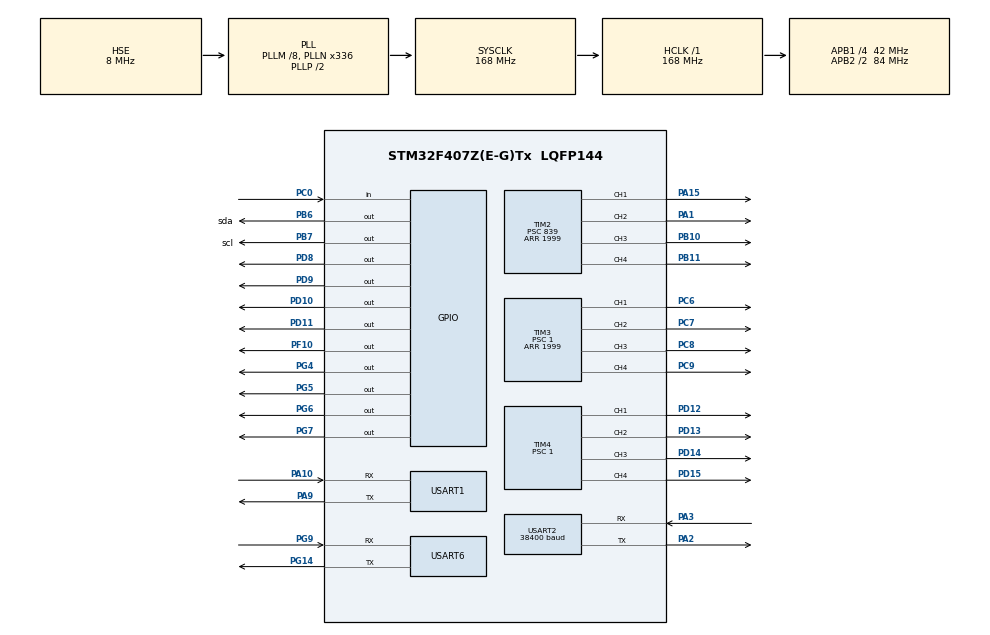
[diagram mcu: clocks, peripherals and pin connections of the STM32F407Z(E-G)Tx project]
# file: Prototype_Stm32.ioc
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Dma.Request0=USART1_RX
Dma.Request1=USART2_RX
Dma.Request2=USART2_TX
Dma.Request3=USART6_RX
Dma.USART1_RX.0.Direction=DMA_PERIPH_TO_MEMORY
Dma.USART1_RX.0.FIFOMode=DMA_FIFOMODE_DISABLE
Dma.USART1_RX.0.Instance=DMA2_Stream5
Dma.USART1_RX.0.MemDataAlignment=DMA_MDATAALIGN_BYTE
Dma.USART1_RX.0.MemInc=DMA_MINC_ENABLE
Dma.USART1_RX.0.Mode=DMA_NORMAL
Dma.USART1_RX.0.PeriphDataAlignment=DMA_PDATAALIGN_BYTE
Dma.USART1_RX.0.PeriphInc=DMA_PINC_DISABLE
Dma.USART1_RX.0.Priority=DMA_PRIORITY_MEDIUM
Dma.USART2_RX.1.Direction=DMA_PERIPH_TO_MEMORY
Dma.USART2_RX.1.FIFOMode=DMA_FIFOMODE_DISABLE
Dma.USART2_RX.1.Instance=DMA1_Stream5
Dma.USART2_RX.1.MemDataAlignment=DMA_MDATAALIGN_BYTE
Dma.USART2_RX.1.MemInc=DMA_MINC_ENABLE
Dma.USART2_RX.1.Mode=DMA_NORMAL
Dma.USART2_RX.1.PeriphDataAlignment=DMA_PDATAALIGN_BYTE
Dma.USART2_RX.1.PeriphInc=DMA_PINC_DISABLE
Dma.USART2_RX.1.Priority=DMA_PRIORITY_LOW
Dma.USART2_TX.2.Direction=DMA_MEMORY_TO_PERIPH
Dma.USART2_TX.2.FIFOMode=DMA_FIFOMODE_DISABLE
Dma.USART2_TX.2.Instance=DMA1_Stream6
Dma.USART2_TX.2.MemDataAlignment=DMA_MDATAALIGN_BYTE
Dma.USART2_TX.2.MemInc=DMA_MINC_ENABLE
Dma.USART2_TX.2.Mode=DMA_NORMAL
Dma.USART2_TX.2.PeriphDataAlignment=DMA_PDATAALIGN_BYTE
Dma.USART2_TX.2.PeriphInc=DMA_PINC_DISABLE
Dma.USART2_TX.2.Priority=DMA_PRIORITY_LOW
Dma.USART6_RX.3.Direction=DMA_PERIPH_TO_MEMORY
Dma.USART6_RX.3.FIFOMode=DMA_FIFOMODE_DISABLE
Dma.USART6_RX.3.Instance=DMA2_Stream1
Dma.USART6_RX.3.MemDataAlignment=DMA_MDATAALIGN_BYTE
Dma.USART6_RX.3.MemInc=DMA_MINC_ENABLE
Dma.USART6_RX.3.Mode=DMA_NORMAL
Dma.USART6_RX.3.PeriphDataAlignment=DMA_PDATAALIGN_BYTE
Dma.USART6_RX.3.PeriphInc=DMA_PINC_DISABLE
Dma.USART6_RX.3.Priority=DMA_PRIORITY_MEDIUM
FREERTOS.Tasks01=defaultTask,24,128,StartDefaultTask,Default,NULL,Dynamic,NULL,NULL;fun_ctrl_task,11,512,fun_ctrl_Task,Default,NULL,Dynamic,NULL,NULL;status_task,8,512,Status_Task,Default,NULL,Dynamic,NULL,NULL;imuTask,32,512,StartImuTask,Default,NULL,Dynamic,NULL,NULL
Mcu.Family=STM32F4
Mcu.Name=STM32F407Z(E-G)Tx
Mcu.Package=LQFP144
NVIC.DMA1_Stream5_IRQn=true\:5\:0\:false\:false\:true\:true\:false\:true\:true
NVIC.DMA1_Stream6_IRQn=true\:5\:0\:false\:false\:true\:true\:false\:true\:true
NVIC.DMA2_Stream1_IRQn=true\:5\:0\:false\:false\:true\:true\:false\:true\:true
NVIC.DMA2_Stream5_IRQn=true\:5\:0\:false\:false\:true\:true\:false\:true\:true
NVIC.PriorityGroup=NVIC_PRIORITYGROUP_4
NVIC.TIM1_UP_TIM10_IRQn=true\:15\:0\:false\:false\:true\:false\:false\:true\:true
NVIC.TimeBase=TIM1_UP_TIM10_IRQn
NVIC.TimeBaseIP=TIM1
NVIC.USART1_IRQn=true\:5\:0\:true\:false\:true\:true\:true\:true\:true
NVIC.USART2_IRQn=true\:5\:0\:false\:false\:true\:true\:true\:true\:true
NVIC.USART6_IRQn=true\:5\:0\:false\:false\:true\:true\:true\:true\:true
PA1.Signal=S_TIM2_CH2
PA10.Mode=Asynchronous
PA10.Signal=USART1_RX
PA13.Mode=Serial_Wire
PA13.Signal=SYS_JTMS-SWDIO
PA14.Mode=Serial_Wire
PA14.Signal=SYS_JTCK-SWCLK
PA15.Signal=S_TIM2_CH1_ETR
PA2.Mode=Asynchronous
PA2.Signal=USART2_TX
PA3.Mode=Asynchronous
PA3.Signal=USART2_RX
PA9.Mode=Asynchronous
PA9.Signal=USART1_TX
PB10.Signal=S_TIM2_CH3
PB11.Signal=S_TIM2_CH4
PB6.GPIO_Label=sda
PB6.GPIO_ModeDefaultOutputPP=GPIO_MODE_OUTPUT_OD
PB6.GPIO_PuPd=GPIO_PULLUP
PB6.GPIO_Speed=GPIO_SPEED_FREQ_HIGH
PB6.Signal=GPIO_Output
PB7.GPIO_Label=scl
PB7.GPIO_ModeDefaultOutputPP=GPIO_MODE_OUTPUT_OD
PB7.GPIO_PuPd=GPIO_NOPULL
PB7.GPIO_Speed=GPIO_SPEED_FREQ_HIGH
PB7.Signal=GPIO_Output
PC0.Signal=GPIO_Input
PC6.Signal=S_TIM3_CH1
PC7.Signal=S_TIM3_CH2
PC8.Signal=S_TIM3_CH3
PC9.Signal=S_TIM3_CH4
PD10.Signal=GPIO_Output
PD11.Signal=GPIO_Output
PD12.Signal=S_TIM4_CH1
PD13.Signal=S_TIM4_CH2
PD14.Signal=S_TIM4_CH3
PD15.Signal=S_TIM4_CH4
PD8.Signal=GPIO_Output
PD9.GPIO_ModeDefaultOutputPP=GPIO_MODE_OUTPUT_PP
PD9.GPIO_PuPd=GPIO_NOPULL
PD9.Signal=GPIO_Output
PF10.PinState=GPIO_PIN_SET
PF10.Signal=GPIO_Output
PG14.Mode=Asynchronous
PG14.Signal=USART6_TX
PG4.Signal=GPIO_Output
PG5.Signal=GPIO_Output
PG6.Signal=GPIO_Output
PG7.Signal=GPIO_Output
PG9.Mode=Asynchronous
PG9.Signal=USART6_RX
PH0-OSC_IN.Mode=HSE-External-Oscillator
PH0-OSC_IN.Signal=RCC_OSC_IN
PH1-OSC_OUT.Mode=HSE-External-Oscillator
PH1-OSC_OUT.Signal=RCC_OSC_OUT
ProjectManager.HeapSize=0x400
ProjectManager.StackSize=0x1000
ProjectManager.TargetToolchain=MDK-ARM V5.32
RCC.48MHZClocksFreq_Value=84000000
RCC.AHBFreq_Value=168000000
RCC.APB1CLKDivider=RCC_HCLK_DIV4
RCC.APB1Freq_Value=42000000
RCC.APB1TimFreq_Value=84000000
RCC.APB2CLKDivider=RCC_HCLK_DIV2
RCC.APB2Freq_Value=84000000
RCC.APB2TimFreq_Value=168000000
RCC.CortexFreq_Value=168000000
RCC.HCLKFreq_Value=168000000
RCC.HSE_VALUE=8000000
RCC.HSI_VALUE=16000000
RCC.LSE_VALUE=32768
RCC.PLLM=8
RCC.PLLN=336
RCC.PLLSourceVirtual=RCC_PLLSOURCE_HSE
RCC.SYSCLKFreq_VALUE=168000000
RCC.SYSCLKSource=RCC_SYSCLKSOURCE_PLLCLK
RCC.VCOOutputFreq_Value=336000000
SH.S_TIM2_CH1_ETR.0=TIM2_CH1,PWM Generation1 CH1
SH.S_TIM2_CH2.0=TIM2_CH2,PWM Generation2 CH2
SH.S_TIM2_CH3.0=TIM2_CH3,PWM Generation3 CH3
SH.S_TIM2_CH4.0=TIM2_CH4,PWM Generation4 CH4
SH.S_TIM3_CH1.0=TIM3_CH1,PWM Generation1 CH1
SH.S_TIM3_CH2.0=TIM3_CH2,PWM Generation2 CH2
SH.S_TIM3_CH3.0=TIM3_CH3,PWM Generation3 CH3
SH.S_TIM3_CH4.0=TIM3_CH4,PWM Generation4 CH4
SH.S_TIM4_CH1.0=TIM4_CH1,PWM Generation1 CH1
SH.S_TIM4_CH2.0=TIM4_CH2,PWM Generation2 CH2
SH.S_TIM4_CH3.0=TIM4_CH3,PWM Generation3 CH3
SH.S_TIM4_CH4.0=TIM4_CH4,PWM Generation4 CH4
TIM2.Channel-PWM\ Generation1\ CH1=TIM_CHANNEL_1
TIM2.Channel-PWM\ Generation2\ CH2=TIM_CHANNEL_2
TIM2.Channel-PWM\ Generation3\ CH3=TIM_CHANNEL_3
TIM2.Channel-PWM\ Generation4\ CH4=TIM_CHANNEL_4
TIM2.Period=1999
TIM2.Prescaler=839
TIM3.Channel-PWM\ Generation1\ CH1=TIM_CHANNEL_1
TIM3.Channel-PWM\ Generation2\ CH2=TIM_CHANNEL_2
TIM3.Channel-PWM\ Generation3\ CH3=TIM_CHANNEL_3
TIM3.Channel-PWM\ Generation4\ CH4=TIM_CHANNEL_4
TIM3.Period=1999
TIM3.Prescaler=1
TIM4.Channel-PWM\ Generation1\ CH1=TIM_CHANNEL_1
TIM4.Channel-PWM\ Generation2\ CH2=TIM_CHANNEL_2
TIM4.Channel-PWM\ Generation3\ CH3=TIM_CHANNEL_3
TIM4.Channel-PWM\ Generation4\ CH4=TIM_CHANNEL_4
TIM4.Prescaler=1
USART1.VirtualMode=VM_ASYNC
USART2.BaudRate=38400
USART2.VirtualMode=VM_ASYNC
USART6.VirtualMode=VM_ASYNC
VP_FREERTOS_VS_CMSIS_V2.Mode=CMSIS_V2
VP_SYS_VS_tim1.Mode=TIM1
board=custom

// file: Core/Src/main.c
/* USER CODE BEGIN Header */
/**
  ******************************************************************************
  * @file           : main.c
  * @brief          : Main program body
  ******************************************************************************
  * @attention
  *
  * Copyright (c) 2025 STMicroelectronics.
  * All rights reserved.
  *
  * This software is licensed under terms that can be found in the LICENSE file
  * in the root directory of this software component.
  * If no LICENSE file comes with this software, it is provided AS-IS.
  *
  ******************************************************************************
  */
/* USER CODE END Header */
#include "main.h"
#include "cmsis_os.h"
#include "dma.h"
#include "tim.h"
#include "usart.h"
#include "gpio.h"

/* USER CODE BEGIN Includes */
#include "user_main.h"
/* USER CODE END Includes */

void SystemClock_Config(void);
void MX_FREERTOS_Init(void);

/* USER CODE BEGIN 0 */
xUART_TypeDef xUART2 = {0};
/* USER CODE END 0 */

int main(void)
{

  /* MCU Configuration--------------------------------------------------------*/

  /* Reset of all peripherals, Initializes the Flash interface and the Systick. */
  HAL_Init();

  /* Configure the system clock */
  SystemClock_Config();

  /* Initialize all configured peripherals */
  MX_GPIO_Init();
  MX_DMA_Init();
  MX_USART1_UART_Init();
  MX_USART2_UART_Init();
  MX_TIM3_Init();
  MX_TIM4_Init();
  MX_TIM2_Init();
  MX_USART6_UART_Init();
  /* USER CODE BEGIN 2 */
	if (HAL_TIM_PWM_Start(&htim2, TIM_CHANNEL_1) != HAL_OK) { Error_Handler(); }
  if (HAL_TIM_PWM_Start(&htim2, TIM_CHANNEL_2) != HAL_OK) { Error_Handler(); }
  if (HAL_TIM_PWM_Start(&htim2, TIM_CHANNEL_3) != HAL_OK) { Error_Handler(); }
  if (HAL_TIM_PWM_Start(&htim2, TIM_CHANNEL_4) != HAL_OK) { Error_Handler(); }

	if (HAL_TIM_PWM_Start(&htim3, TIM_CHANNEL_1) != HAL_OK) { Error_Handler(); }
  if (HAL_TIM_PWM_Start(&htim3, TIM_CHANNEL_2) != HAL_OK) { Error_Handler(); }
  if (HAL_TIM_PWM_Start(&htim3, TIM_CHANNEL_3) != HAL_OK) { Error_Handler(); }
  if (HAL_TIM_PWM_Start(&htim3, TIM_CHANNEL_4) != HAL_OK) { Error_Handler(); }

  if (HAL_TIM_PWM_Start(&htim4, TIM_CHANNEL_1) != HAL_OK) { Error_Handler(); }
  if (HAL_TIM_PWM_Start(&htim4, TIM_CHANNEL_2) != HAL_OK) { Error_Handler(); }
  if (HAL_TIM_PWM_Start(&htim4, TIM_CHANNEL_3) != HAL_OK) { Error_Handler(); }
  if (HAL_TIM_PWM_Start(&htim4, TIM_CHANNEL_4) != HAL_OK) { Error_Handler(); }
	Car_Init();
	printf("this is stm32f407\r\n");

	//TurnLeft();
  /* USER CODE END 2 */

  /* Init scheduler */
  osKernelInitialize();  /* Call init function for freertos objects (in cmsis_os2.c) */
  MX_FREERTOS_Init();

  /* Start scheduler */
  osKernelStart();

  /* We should never get here as control is now taken by the scheduler */

  /* Infinite loop */
  /* USER CODE BEGIN WHILE */
	user_main();
  while (1)
  {
    /* USER CODE END WHILE */

  }
}

void SystemClock_Config(void)
{
  RCC_OscInitTypeDef RCC_OscInitStruct = {0};
  RCC_ClkInitTypeDef RCC_ClkInitStruct = {0};

  /** Configure the main internal regulator output voltage
  */
  __HAL_RCC_PWR_CLK_ENABLE();
  __HAL_PWR_VOLTAGESCALING_CONFIG(PWR_REGULATOR_VOLTAGE_SCALE1);

  /** Initializes the RCC Oscillators according to the specified parameters
  * in the RCC_OscInitTypeDef structure.
  */
  RCC_OscInitStruct.OscillatorType = RCC_OSCILLATORTYPE_HSE;
  RCC_OscInitStruct.HSEState = RCC_HSE_ON;
  RCC_OscInitStruct.PLL.PLLState = RCC_PLL_ON;
  RCC_OscInitStruct.PLL.PLLSource = RCC_PLLSOURCE_HSE;
  RCC_OscInitStruct.PLL.PLLM = 8;
  RCC_OscInitStruct.PLL.PLLN = 336;
  RCC_OscInitStruct.PLL.PLLP = RCC_PLLP_DIV2;
  RCC_OscInitStruct.PLL.PLLQ = 4;
  if (HAL_RCC_OscConfig(&RCC_OscInitStruct) != HAL_OK)
  {
    Error_Handler();
  }

  /** Initializes the CPU, AHB and APB buses clocks
  */
  RCC_ClkInitStruct.ClockType = RCC_CLOCKTYPE_HCLK|RCC_CLOCKTYPE_SYSCLK
                              |RCC_CLOCKTYPE_PCLK1|RCC_CLOCKTYPE_PCLK2;
  RCC_ClkInitStruct.SYSCLKSource = RCC_SYSCLKSOURCE_PLLCLK;
  RCC_ClkInitStruct.AHBCLKDivider = RCC_SYSCLK_DIV1;
  RCC_ClkInitStruct.APB1CLKDivider = RCC_HCLK_DIV4;
  RCC_ClkInitStruct.APB2CLKDivider = RCC_HCLK_DIV2;

  if (HAL_RCC_ClockConfig(&RCC_ClkInitStruct, FLASH_LATENCY_5) != HAL_OK)
  {
    Error_Handler();
  }
}

/* USER CODE BEGIN 4 */
void HAL_UARTEx_RxEventCallback(UART_HandleTypeDef *huart, uint16_t Size)
{
    if (huart == &huart2)
    {
        __HAL_UNLOCK(huart);

        xUART2.RxNum  = Size;
        memset(xUART2.RxData, 0, sizeof(xUART2.RxData));
        memcpy(xUART2.RxData, xUART2.RxTemp, Size);

        Motor_ProcessRxData(xUART2.RxData, Size);
        HAL_UARTEx_ReceiveToIdle_DMA(&huart2, xUART2.RxTemp, sizeof(xUART2.RxTemp));
    }
}

/* USER CODE END 4 */

void HAL_TIM_PeriodElapsedCallback(TIM_HandleTypeDef *htim)
{
  if (htim->Instance == TIM1)
  {
    HAL_IncTick();
  }
}

void Error_Handler(void)
{
  __disable_irq();
  while (1)
  {
  }
}

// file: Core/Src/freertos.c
/* USER CODE BEGIN Header */
/**
  ******************************************************************************
  * File Name          : freertos.c
  * Description        : Code for freertos applications
  ******************************************************************************
  * @attention
  *
  * Copyright (c) 2025 STMicroelectronics.
  * All rights reserved.
  *
  * This software is licensed under terms that can be found in the LICENSE file
  * in the root directory of this software component.
  * If no LICENSE file comes with this software, it is provided AS-IS.
  *
  ******************************************************************************
  */
/* USER CODE END Header */

#include "FreeRTOS.h"
#include "task.h"
#include "main.h"
#include "cmsis_os.h"

/* USER CODE BEGIN Includes */
#include "usart.h"
#include "user_main.h"
#include "demo.h"
/* USER CODE END Includes */

/* Definitions for defaultTask */
osThreadId_t defaultTaskHandle;
const osThreadAttr_t defaultTask_attributes = {
  .name = "defaultTask",
  .stack_size = 128 * 4,
  .priority = (osPriority_t) osPriorityNormal,
};
/* Definitions for fun_ctrl_task */
osThreadId_t fun_ctrl_taskHandle;
const osThreadAttr_t fun_ctrl_task_attributes = {
  .name = "fun_ctrl_task",
  .stack_size = 512 * 4,
  .priority = (osPriority_t) osPriorityLow3,
};
/* Definitions for status_task */
osThreadId_t status_taskHandle;
const osThreadAttr_t status_task_attributes = {
  .name = "status_task",
  .stack_size = 512 * 4,
  .priority = (osPriority_t) osPriorityLow,
};
/* Definitions for imuTask */
osThreadId_t imuTaskHandle;
const osThreadAttr_t imuTask_attributes = {
  .name = "imuTask",
  .stack_size = 512 * 4,
  .priority = (osPriority_t) osPriorityAboveNormal,
};

/* USER CODE BEGIN FunctionPrototypes */
QueueHandle_t uartQueue;
fsm_lib_return main_ctrl_fsm(fsm_lib_ctrl_handle *handle);
fsm_lib_ctrl_handle main_ctrl_fsm_handle;

/* USER CODE END FunctionPrototypes */

void StartDefaultTask(void *argument);
void fun_ctrl_Task(void *argument);
void Status_Task(void *argument);
void StartImuTask(void *argument);

void MX_FREERTOS_Init(void); /* (MISRA C 2004 rule 8.1) */

void MX_FREERTOS_Init(void) {

  /* USER CODE BEGIN RTOS_QUEUES */
  /* add queues, ... */

	uartQueue = xQueueCreate(8,sizeof(uart_frame_t));
	configASSERT(uartQueue != NULL);

  /* USER CODE END RTOS_QUEUES */

  /* Create the thread(s) */
  /* creation of defaultTask */
  defaultTaskHandle = osThreadNew(StartDefaultTask, NULL, &defaultTask_attributes);

  /* creation of fun_ctrl_task */
  fun_ctrl_taskHandle = osThreadNew(fun_ctrl_Task, NULL, &fun_ctrl_task_attributes);

  /* creation of status_task */
  status_taskHandle = osThreadNew(Status_Task, NULL, &status_task_attributes);

  /* creation of imuTask */
  imuTaskHandle = osThreadNew(StartImuTask, NULL, &imuTask_attributes);

}

/* USER CODE BEGIN Header_StartDefaultTask */
/**
  * @brief  Function implementing the defaultTask thread.
  * @param  argument: Not used
  * @retval None
  */
serial_frame_t pkt;
cmd_vel_t cmd;
/* USER CODE END Header_StartDefaultTask */
void StartDefaultTask(void *argument)
{
  /* USER CODE BEGIN StartDefaultTask */
  /* Infinite loop */
	printf("StartDefaultTask\r\n");

  uint16_t rx_len;
	uart_frame_t frame;
	uint8_t tx_buf[32];
	uint16_t tx_len;

	for (;;)
	{
		  printf("\r\n******************************************\r\n");
			if (xQueueReceive(uartQueue,&frame,portMAX_DELAY) == pdPASS)
      {
					//Unpacking
					//printf("%s", frame.data);
					serial_frame_ret_t ret =
                serial_frame_parse((uint8_t *)frame.data, frame.len, &pkt);

            if (ret == SERIAL_FRAME_OK)
            {
                switch (pkt.cmd)
                {
                case 0x01:
								{
												cmd.linear_x_mm_s =
									(int16_t)((pkt.data[0] << 8) | pkt.data[1]);

												cmd.angular_z_mrad =
									(int16_t)((pkt.data[2] << 8) | pkt.data[3]);

									  Motor_SetSpeed_FromCmd(&cmd, 50);
										//GoAhead();
									  //send cmd and v to uart2
										uint8_t ack_data[] = {0x00};
										tx_len = serial_frame_build(0x81, ack_data, 1,tx_buf, sizeof(tx_buf));
										HAL_UART_Transmit(&huart6, tx_buf, tx_len, 100);
                    break;
								}

                case 0x02:
								{
									  //ArmFrontBack();
										uint8_t ack_data[] = {0x00};
										tx_len = serial_frame_build(0x82, ack_data, 1,tx_buf, sizeof(tx_buf));
										HAL_UART_Transmit(&huart6, tx_buf, tx_len, 100);
                    break;
								}
								case 0x03:
								{
										//ack
										uint8_t ack_data[] = {0x00};
										tx_len = serial_frame_build(0x83, ack_data, 1,tx_buf, sizeof(tx_buf));
										HAL_UART_Transmit(&huart6, tx_buf, tx_len, 100);
                    break;
								}
                case 0x04:
								{
										//ack
										uint8_t ack_data[] = {0x00};
										tx_len = serial_frame_build(0x84, ack_data, 1,tx_buf, sizeof(tx_buf));
										HAL_UART_Transmit(&huart6, tx_buf, tx_len, 100);
                    break;
								}
                default:
                    break;
                }
            }
            else
            {
            }
      }
			osDelay(5);
	}
  /* USER CODE END StartDefaultTask */
}

void fun_ctrl_Task(void *argument)
{
  /* USER CODE BEGIN fun_ctrl_Task */

	fsm_lib_start(&main_ctrl_fsm_handle);
  /* Infinite loop */
	//GoAhead();
	//Stop();
	//ArmFrontBack();
  for(;;)
  {
//		fsm_lib_return ret = main_ctrl_fsm(&main_ctrl_fsm_handle);
//		if (ret == fsm_rt_idle) {
//        osDelay(10);
//    } else {
//        osDelay(1);
//    }
		osDelay(10);
  }
  /* USER CODE END fun_ctrl_Task */
}

void Status_Task(void *argument)
{
  /* USER CODE BEGIN Status_Task */
  /* Infinite loop */
  for(;;)
  {
		//touch senior  todo

		HAL_GPIO_TogglePin(GPIOF,GPIO_PIN_10);
		osDelay(1000);
  }
  /* USER CODE END Status_Task */
}

void StartImuTask(void *argument)
{
  /* USER CODE BEGIN StartImuTask */
	uint8_t I2C_data[10];
	demo_run();
	//printf("%4.2f \n",Get_Acc()[2]);
	float* acc= Get_Acc();
	float a = acc[2];
  /* Infinite loop */
  for(;;)
  {

		//demo_run();
    osDelay(1);
  }
  /* USER CODE END StartImuTask */
}

/* USER CODE BEGIN Application */
/**
 * @brief   fun_ctrl fsm
 */
fsm_lib_return main_ctrl_fsm(fsm_lib_ctrl_handle *handle) {
    enum {
        idle = 0,
        start,
        end,
        error,
        seft_tset,
        running,
        exit,
        func_error,
    };
    fsm_lib_check_emergency(handle);

    switch (handle->state) {
        fsm_lib_state(idle) {
						printf("main_ctrl_fsm idle\r\n");
            fsm_lib_release(handle, fsm_rt_idle);
        }
        break;

        fsm_lib_state(start) {
					  printf("main_ctrl_fsm start\r\n");
            fsm_lib_update_to(handle, seft_tset);
        }
        break;

        fsm_lib_state(end) {
            fsm_lib_transfer_to(handle, idle, fsm_rt_cpl);
        }
        break;

        fsm_lib_state(error) {}
        break;
        fsm_lib_state(seft_tset) {
            printf("main_ctrl_fsm seft_tset\r\n");
					  fsm_lib_update_to(handle, running);
        }
        break;
        fsm_lib_state(running) {
            printf("main_ctrl_fsm running\r\n");
						fsm_lib_release(handle, fsm_rt_running);
        }
        break;
        fsm_lib_state(exit) {

        }
        break;
        fsm_lib_state(func_error) {

        }
        break;
    }

    return fsm_rt_running;
}
/* USER CODE END Application */
